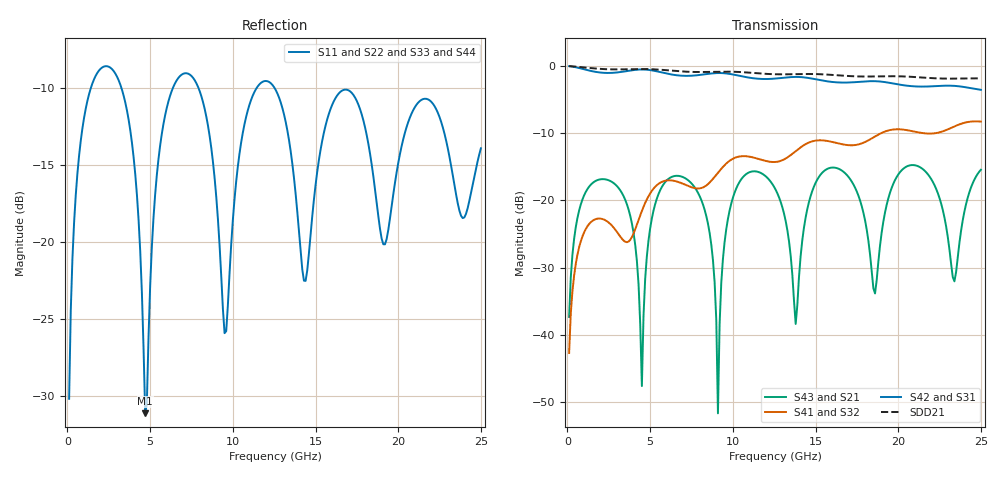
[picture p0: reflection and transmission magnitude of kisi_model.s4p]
! kisi T_ts6_diff_ms: fast channel model (formula impedances, via model), up to 25 GHz
# Hz S RI R 50
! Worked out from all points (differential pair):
!   250 points, 100 MHz to 25 GHz, reference 50 ohm
!   strongest paths, dB at 100 MHz, 6.3 GHz, 12.6 GHz, 18.8 GHz, 25 GHz:
!     S42: -0.1, -1.3, -1.9, -2.3, -3.6
!     S31: -0.1, -1.3, -1.9, -2.3, -3.6
!     S41: -42.7, -17.0, -14.3, -10.2, -8.3
!     S32: -42.7, -17.0, -14.3, -10.2, -8.3
!     S43: -37.3, -16.5, -18.5, -29.1, -15.5
!     S21: -37.3, -16.5, -18.5, -29.1, -15.5
!   taken as a pair (ports 2,1 in; 4,3 out), SDD21 dB: -0.1, -0.7, -1.3, -1.6, -1.9
!   lowest |S11| = -31.1 dB at 4.7 GHz (marker M1), VSWR 1.06, Z = 52.6 - j1.15 ohm
!   |S11| at or under -10 dB: 3.255 GHz to 6.385 GHz (3.13 GHz wide, 64.9 % of centre); 7.914 GHz to 11.46 GHz (3.542 GHz wide, 36.6 % of centre); 12.51 GHz to end of sweep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
1e8  0.00881 0.0296  0.00143 0.0135  0.9894 -0.075  -0.00108 -0.00727
     0.00143 0.0135  0.00881 0.0296  -0.00108 -0.00727  0.9894 -0.075
     0.9894 -0.075  -0.00108 -0.00727  0.00881 0.0296  0.00143 0.0135
     -0.00108 -0.00727  0.9894 -0.075  0.00143 0.0135  0.00881 0.0296
4.7e9  0.0255 -0.0109  0.00698 0.0252  -0.934 -0.0673  -0.00326 0.0956
       0.00698 0.0252  0.0255 -0.0109  -0.00326 0.0956  -0.934 -0.0673
       -0.934 -0.0673  -0.00326 0.0956  0.0255 -0.0109  0.00698 0.0252
       -0.00326 0.0956  -0.934 -0.0673  0.00698 0.0252  0.0255 -0.0109
7.9e9  0.2941 -0.1199  0.0881 -0.0713  0.3171 0.7898  0.0929 -0.0798
       0.0881 -0.0713  0.2941 -0.1199  0.0929 -0.0798  0.3171 0.7898
       0.3171 0.7898  0.0929 -0.0798  0.2941 -0.1199  0.0881 -0.0713
       0.0929 -0.0798  0.3171 0.7898  0.0881 -0.0713  0.2941 -0.1199
9.1e9  0.0761 -0.0902  -0.0025 -0.000768  0.8135 0.3413  0.056 -0.1503
       -0.0025 -0.000768  0.0761 -0.0902  0.056 -0.1503  0.8135 0.3413
       0.8135 0.3413  0.056 -0.1503  0.0761 -0.0902  -0.0025 -0.000768
       0.056 -0.1503  0.8135 0.3413  -0.0025 -0.000768  0.0761 -0.0902
9.6e9  0.0502 0.0105  0.0161 0.0586  0.8753 0.0442  0.00133 -0.1876
       0.0161 0.0586  0.0502 0.0105  0.00133 -0.1876  0.8753 0.0442
       0.8753 0.0442  0.00133 -0.1876  0.0502 0.0105  0.0161 0.0586
       0.00133 -0.1876  0.8753 0.0442  0.0161 0.0586  0.0502 0.0105
1.43e10  0.0739 -0.0114  0.00653 0.0622  -0.8063 -0.1463  -0.0367 0.2546
         0.00653 0.0622  0.0739 -0.0114  -0.0367 0.2546  -0.8063 -0.1463
         -0.8063 -0.1463  -0.0367 0.2546  0.0739 -0.0114  0.00653 0.0622
         -0.0367 0.2546  -0.8063 -0.1463  0.00653 0.0622  0.0739 -0.0114
2.5e10  0.187 0.0736  0.1438 0.0883  -0.6111 0.2548  0.1898 0.3345
        0.1438 0.0883  0.187 0.0736  0.1898 0.3345  -0.6111 0.2548
        -0.6111 0.2548  0.1898 0.3345  0.187 0.0736  0.1438 0.0883
        0.1898 0.3345  -0.6111 0.2548  0.1438 0.0883  0.187 0.0736
